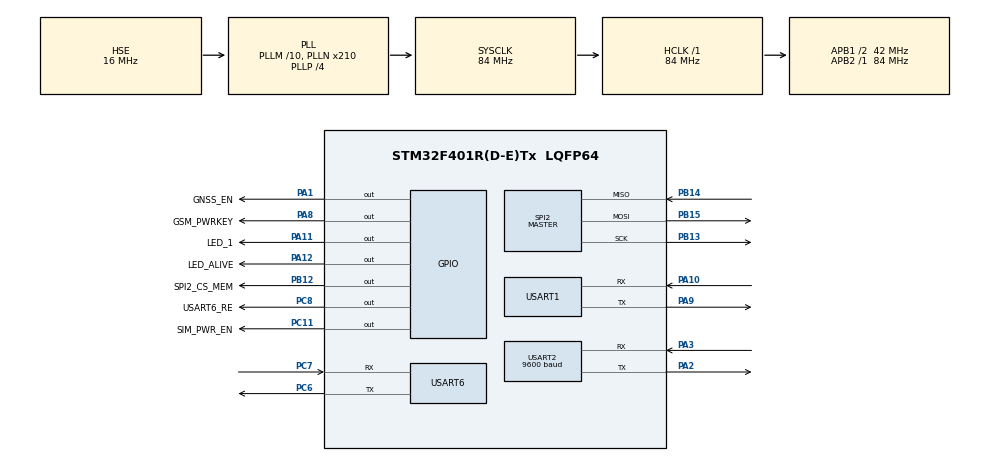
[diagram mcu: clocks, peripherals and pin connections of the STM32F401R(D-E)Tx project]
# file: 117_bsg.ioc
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Dma.Request0=USART2_RX
Dma.Request1=USART1_RX
Dma.Request2=USART1_TX
Dma.Request3=SPI2_RX
Dma.Request4=SPI2_TX
Dma.Request5=USART6_RX
Dma.Request6=USART6_TX
Dma.SPI2_RX.3.Direction=DMA_PERIPH_TO_MEMORY
Dma.SPI2_RX.3.FIFOMode=DMA_FIFOMODE_DISABLE
Dma.SPI2_RX.3.Instance=DMA1_Stream3
Dma.SPI2_RX.3.MemDataAlignment=DMA_MDATAALIGN_BYTE
Dma.SPI2_RX.3.MemInc=DMA_MINC_ENABLE
Dma.SPI2_RX.3.Mode=DMA_NORMAL
Dma.SPI2_RX.3.PeriphDataAlignment=DMA_PDATAALIGN_BYTE
Dma.SPI2_RX.3.PeriphInc=DMA_PINC_DISABLE
Dma.SPI2_RX.3.Priority=DMA_PRIORITY_LOW
Dma.SPI2_TX.4.Direction=DMA_MEMORY_TO_PERIPH
Dma.SPI2_TX.4.FIFOMode=DMA_FIFOMODE_DISABLE
Dma.SPI2_TX.4.Instance=DMA1_Stream4
Dma.SPI2_TX.4.MemDataAlignment=DMA_MDATAALIGN_BYTE
Dma.SPI2_TX.4.MemInc=DMA_MINC_ENABLE
Dma.SPI2_TX.4.Mode=DMA_NORMAL
Dma.SPI2_TX.4.PeriphDataAlignment=DMA_PDATAALIGN_BYTE
Dma.SPI2_TX.4.PeriphInc=DMA_PINC_DISABLE
Dma.SPI2_TX.4.Priority=DMA_PRIORITY_LOW
Dma.USART1_RX.1.Direction=DMA_PERIPH_TO_MEMORY
Dma.USART1_RX.1.FIFOMode=DMA_FIFOMODE_DISABLE
Dma.USART1_RX.1.Instance=DMA2_Stream2
Dma.USART1_RX.1.MemDataAlignment=DMA_MDATAALIGN_BYTE
Dma.USART1_RX.1.MemInc=DMA_MINC_ENABLE
Dma.USART1_RX.1.Mode=DMA_CIRCULAR
Dma.USART1_RX.1.PeriphDataAlignment=DMA_PDATAALIGN_BYTE
Dma.USART1_RX.1.PeriphInc=DMA_PINC_DISABLE
Dma.USART1_RX.1.Priority=DMA_PRIORITY_LOW
Dma.USART1_TX.2.Direction=DMA_MEMORY_TO_PERIPH
Dma.USART1_TX.2.FIFOMode=DMA_FIFOMODE_DISABLE
Dma.USART1_TX.2.Instance=DMA2_Stream7
Dma.USART1_TX.2.MemDataAlignment=DMA_MDATAALIGN_BYTE
Dma.USART1_TX.2.MemInc=DMA_MINC_ENABLE
Dma.USART1_TX.2.Mode=DMA_NORMAL
Dma.USART1_TX.2.PeriphDataAlignment=DMA_PDATAALIGN_BYTE
Dma.USART1_TX.2.PeriphInc=DMA_PINC_DISABLE
Dma.USART1_TX.2.Priority=DMA_PRIORITY_LOW
Dma.USART2_RX.0.Direction=DMA_PERIPH_TO_MEMORY
Dma.USART2_RX.0.FIFOMode=DMA_FIFOMODE_DISABLE
Dma.USART2_RX.0.Instance=DMA1_Stream5
Dma.USART2_RX.0.MemDataAlignment=DMA_MDATAALIGN_BYTE
Dma.USART2_RX.0.MemInc=DMA_MINC_ENABLE
Dma.USART2_RX.0.Mode=DMA_CIRCULAR
Dma.USART2_RX.0.PeriphDataAlignment=DMA_PDATAALIGN_BYTE
Dma.USART2_RX.0.PeriphInc=DMA_PINC_DISABLE
Dma.USART2_RX.0.Priority=DMA_PRIORITY_LOW
Dma.USART6_RX.5.Direction=DMA_PERIPH_TO_MEMORY
Dma.USART6_RX.5.FIFOMode=DMA_FIFOMODE_DISABLE
Dma.USART6_RX.5.Instance=DMA2_Stream1
Dma.USART6_RX.5.MemDataAlignment=DMA_MDATAALIGN_BYTE
Dma.USART6_RX.5.MemInc=DMA_MINC_ENABLE
Dma.USART6_RX.5.Mode=DMA_CIRCULAR
Dma.USART6_RX.5.PeriphDataAlignment=DMA_PDATAALIGN_BYTE
Dma.USART6_RX.5.PeriphInc=DMA_PINC_DISABLE
Dma.USART6_RX.5.Priority=DMA_PRIORITY_LOW
Dma.USART6_TX.6.Direction=DMA_MEMORY_TO_PERIPH
Dma.USART6_TX.6.FIFOMode=DMA_FIFOMODE_DISABLE
Dma.USART6_TX.6.Instance=DMA2_Stream6
Dma.USART6_TX.6.MemDataAlignment=DMA_MDATAALIGN_BYTE
Dma.USART6_TX.6.MemInc=DMA_MINC_ENABLE
Dma.USART6_TX.6.Mode=DMA_NORMAL
Dma.USART6_TX.6.PeriphDataAlignment=DMA_PDATAALIGN_BYTE
Dma.USART6_TX.6.PeriphInc=DMA_PINC_DISABLE
Dma.USART6_TX.6.Priority=DMA_PRIORITY_LOW
FREERTOS.BinarySemaphores01=semCreateWebPckg,Dynamic,NULL;uart6RXSem,Dynamic,NULL;semSendWebPckg,Dynamic,NULL;semSendTelPckg,Dynamic,NULL
FREERTOS.Mutexes01=mutexGPSBuf,Dynamic,NULL;mutexWeb,Dynamic,NULL;mutexRTC,Dynamic,NULL;mutexSpiFlash,Dynamic,NULL;mutexSession,Dynamic,NULL
FREERTOS.Queues01=queueWebPckg,8,WebPckg*,0,Dynamic,NULL,NULL;queueTelPckg,8,WebPckg*,0,Dynamic,NULL,NULL
FREERTOS.Tasks01=getGPS,0,300,taskGetGPS,As weak,NULL,Dynamic,NULL,NULL;keepAlive,0,300,taskKeepAlive,As weak,NULL,Dynamic,NULL,NULL;getNewBin,0,300,taskGetNewBin,As weak,NULL,Dynamic,NULL,NULL;manageIWDG,0,128,taskManageIWDG,As weak,NULL,Dynamic,NULL,NULL;createWebPckg,0,300,taskCreateWebPckg,As weak,NULL,Dynamic,NULL,NULL;webExchange,0,300,taskWebExchange,As weak,NULL,Dynamic,NULL,NULL;getTrainData,0,256,taskGetTrainData,As weak,NULL,Dynamic,NULL,NULL;sendTelemetry,0,256,taskSendTelemetry,As weak,NULL,Dynamic,NULL,NULL
FREERTOS.configTOTAL_HEAP_SIZE=16000
IWDG.Prescaler=IWDG_PRESCALER_256
Mcu.Family=STM32F4
Mcu.Name=STM32F401R(D-E)Tx
Mcu.Package=LQFP64
NVIC.DMA1_Stream3_IRQn=true\:5\:0\:false\:false\:true\:true\:false\:true
NVIC.DMA1_Stream4_IRQn=true\:5\:0\:false\:false\:true\:true\:false\:true
NVIC.DMA1_Stream5_IRQn=true\:5\:0\:false\:false\:true\:true\:false\:true
NVIC.DMA2_Stream1_IRQn=true\:5\:0\:false\:false\:true\:true\:false\:true
NVIC.DMA2_Stream2_IRQn=true\:5\:0\:false\:false\:true\:true\:false\:true
NVIC.DMA2_Stream6_IRQn=true\:5\:0\:false\:false\:true\:true\:false\:true
NVIC.DMA2_Stream7_IRQn=true\:5\:0\:false\:false\:true\:true\:false\:true
NVIC.PriorityGroup=NVIC_PRIORITYGROUP_4
NVIC.SPI2_IRQn=true\:5\:0\:false\:false\:true\:true\:true\:true
NVIC.TIM1_UP_TIM10_IRQn=true\:0\:0\:false\:false\:true\:false\:false\:true
NVIC.TimeBase=TIM1_UP_TIM10_IRQn
NVIC.TimeBaseIP=TIM1
NVIC.USART1_IRQn=true\:5\:0\:false\:false\:true\:true\:true\:true
NVIC.USART2_IRQn=true\:5\:0\:false\:false\:true\:true\:true\:true
NVIC.USART6_IRQn=true\:5\:0\:false\:false\:true\:true\:true\:true
PA1.GPIO_Label=GNSS_EN
PA1.Signal=GPIO_Output
PA10.Mode=Asynchronous
PA10.Signal=USART1_RX
PA11.GPIO_Label=LED_1
PA11.Signal=GPIO_Output
PA12.GPIO_Label=LED_ALIVE
PA12.Signal=GPIO_Output
PA13.Mode=Serial_Wire
PA13.Signal=SYS_JTMS-SWDIO
PA14.Mode=Serial_Wire
PA14.Signal=SYS_JTCK-SWCLK
PA2.Mode=Asynchronous
PA2.Signal=USART2_TX
PA3.Mode=Asynchronous
PA3.Signal=USART2_RX
PA8.GPIO_Label=GSM_PWRKEY
PA8.Signal=GPIO_Output
PA9.Mode=Asynchronous
PA9.Signal=USART1_TX
PB12.GPIO_Label=SPI2_CS_MEM
PB12.Signal=GPIO_Output
PB13.Mode=Full_Duplex_Master
PB13.Signal=SPI2_SCK
PB14.Mode=Full_Duplex_Master
PB14.Signal=SPI2_MISO
PB15.Mode=Full_Duplex_Master
PB15.Signal=SPI2_MOSI
PC11.GPIO_Label=SIM_PWR_EN
PC11.Signal=GPIO_Output
PC14-OSC32_IN.Mode=LSE-External-Oscillator
PC14-OSC32_IN.Signal=RCC_OSC32_IN
PC15-OSC32_OUT.Mode=LSE-External-Oscillator
PC15-OSC32_OUT.Signal=RCC_OSC32_OUT
PC6.Mode=Asynchronous
PC6.Signal=USART6_TX
PC7.Mode=Asynchronous
PC7.Signal=USART6_RX
PC8.GPIO_Label=USART6_RE
PC8.Signal=GPIO_Output
PH0\ -\ OSC_IN.Mode=HSE-External-Oscillator
PH0\ -\ OSC_IN.Signal=RCC_OSC_IN
PH1\ -\ OSC_OUT.Mode=HSE-External-Oscillator
PH1\ -\ OSC_OUT.Signal=RCC_OSC_OUT
ProjectManager.HeapSize=0x200
ProjectManager.StackSize=0x400
ProjectManager.TargetToolchain=EWARM V8
RCC.48MHZClocksFreq_Value=84000000
RCC.AHBFreq_Value=84000000
RCC.APB1CLKDivider=RCC_HCLK_DIV2
RCC.APB1Freq_Value=42000000
RCC.APB1TimFreq_Value=84000000
RCC.APB2Freq_Value=84000000
RCC.APB2TimFreq_Value=84000000
RCC.CortexFreq_Value=84000000
RCC.HCLKFreq_Value=84000000
RCC.HSE_VALUE=16000000
RCC.HSI_VALUE=16000000
RCC.PLLM=10
RCC.PLLN=210
RCC.PLLP=RCC_PLLP_DIV4
RCC.PLLSourceVirtual=RCC_PLLSOURCE_HSE
RCC.RCC_RTC_Clock_Source=RCC_RTCCLKSOURCE_LSE
RCC.RCC_RTC_Clock_SourceVirtual=RCC_RTCCLKSOURCE_LSE
RCC.SYSCLKFreq_VALUE=84000000
RCC.SYSCLKSource=RCC_SYSCLKSOURCE_PLLCLK
RCC.VCOOutputFreq_Value=336000000
SPI2.BaudRatePrescaler=SPI_BAUDRATEPRESCALER_2
SPI2.Direction=SPI_DIRECTION_2LINES
SPI2.Mode=SPI_MODE_MASTER
SPI2.VirtualType=VM_MASTER
TIM10.Period=10000
TIM10.Prescaler=42000
USART1.VirtualMode=VM_ASYNC
USART2.BaudRate=9600
USART2.VirtualMode=VM_ASYNC
USART6.VirtualMode=VM_ASYNC
VP_CRC_VS_CRC.Mode=CRC_Activate
VP_FREERTOS_VS_CMSIS_V1.Mode=CMSIS_V1
VP_IWDG_VS_IWDG.Mode=IWDG_Activate
VP_RTC_VS_RTC_Activate.Mode=RTC_Enabled
VP_SYS_VS_tim1.Mode=TIM1
VP_TIM10_VS_ClockSourceINT.Mode=Enable_Timer
board=custom

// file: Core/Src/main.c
/* USER CODE BEGIN Header */
/**
 ******************************************************************************
 * @file           : main.c
 * @brief          : Main program body
 ******************************************************************************
 * @attention
 *
 * <h2><center>&copy; Copyright (c) 2020 STMicroelectronics.
 * All rights reserved.</center></h2>
 *
 * This software component is licensed by ST under Ultimate Liberty license
 * SLA0044, the "License"; You may not use this file except in compliance with
 * the License. You may obtain a copy of the License at:
 *                             www.st.com/SLA0044
 *
 ******************************************************************************
 */
/* USER CODE END Header */
#include "main.h"

#include "cmsis_os.h"
#include "crc.h"
#include "dma.h"
#include "gpio.h"
#include "iwdg.h"
#include "rtc.h"
#include "spi.h"
#include "tim.h"
#include "usart.h"

/* USER CODE BEGIN PV */
#include "../Utils/Inc/circularBuffer.h"
#include "../Utils/Inc/utils_bsg.h"
#include "../Utils/Inc/utils_flash.h"
#include "../Utils/Inc/utils_gps.h"

BSG  bsg;
Urls urls;

CircularBuffer circBufAllPckgs = {.buf = NULL, .max = 0};

u8 bufPckgGPS[256];
/* USER CODE END PV */

void SystemClock_Config(void);
void MX_FREERTOS_Init(void);

int main(void) {

    /* MCU Configuration--------------------------------------------------------*/

    /* Reset of all peripherals, Initializes the Flash interface and the Systick. */
    HAL_Init();

    /* Configure the system clock */
    SystemClock_Config();

    /* Initialize all configured peripherals */
    MX_GPIO_Init();
    MX_DMA_Init();
    MX_SPI2_Init();
    MX_USART1_UART_Init();
    MX_USART2_UART_Init();
    MX_IWDG_Init();
    MX_RTC_Init();
    MX_TIM10_Init();
    MX_CRC_Init();
    MX_USART6_UART_Init();
    /* USER CODE BEGIN 2 */
    // LOG(LEVEL_MAIN, "OK: start main prog\r\n");
    volatile FIRMWARE_INFO info = {.header = 0x1122334455667788,
                                   .numFirmware = BSG_ID_FIRMWARE,
                                   .verFirmware = BSG_VER_BETA_FIRMWARE,
                                   .numTrainCar = BSG_ID_TRAINCAR,
                                   .idBoot = BSG_ID_BOOT};

    info.idBoot = (u8)getFlashData(FLASH_ADDR_ID_BOOT);
    memcpy(&bsg.info, &info, sizeof(FIRMWARE_INFO));

    LOG(LEVEL_MAIN, "Firmware: %d.%d\r\n\r\n", info.numFirmware, info.idBoot);
    uartInitInfo();
    bsgInit();
    urlsInit();
    cBufInit(&circBufAllPckgs, bufPckgGPS, 256, CIRC_TYPE_GNSS);

    /* USER CODE END 2 */

    /* Call init function for freertos objects (in freertos.c) */
    MX_FREERTOS_Init();
    /* Start scheduler */
    osKernelStart();

    /* We should never get here as control is now taken by the scheduler */
    /* Infinite loop */
    while (1) {

    }
}

void SystemClock_Config(void) {
    RCC_OscInitTypeDef       RCC_OscInitStruct = {0};
    RCC_ClkInitTypeDef       RCC_ClkInitStruct = {0};
    RCC_PeriphCLKInitTypeDef PeriphClkInitStruct = {0};

    /** Configure the main internal regulator output voltage
     */
    __HAL_RCC_PWR_CLK_ENABLE();
    __HAL_PWR_VOLTAGESCALING_CONFIG(PWR_REGULATOR_VOLTAGE_SCALE2);
    /** Initializes the RCC Oscillators according to the specified parameters
     * in the RCC_OscInitTypeDef structure.
     */
    RCC_OscInitStruct.OscillatorType = RCC_OSCILLATORTYPE_LSI | RCC_OSCILLATORTYPE_HSE | RCC_OSCILLATORTYPE_LSE;
    RCC_OscInitStruct.HSEState = RCC_HSE_ON;
    RCC_OscInitStruct.LSEState = RCC_LSE_ON;
    RCC_OscInitStruct.LSIState = RCC_LSI_ON;
    RCC_OscInitStruct.PLL.PLLState = RCC_PLL_ON;
    RCC_OscInitStruct.PLL.PLLSource = RCC_PLLSOURCE_HSE;
    RCC_OscInitStruct.PLL.PLLM = 10;
    RCC_OscInitStruct.PLL.PLLN = 210;
    RCC_OscInitStruct.PLL.PLLP = RCC_PLLP_DIV4;
    RCC_OscInitStruct.PLL.PLLQ = 4;
    if (HAL_RCC_OscConfig(&RCC_OscInitStruct) != HAL_OK) {
        Error_Handler();
    }
    /** Initializes the CPU, AHB and APB buses clocks
     */
    RCC_ClkInitStruct.ClockType = RCC_CLOCKTYPE_HCLK | RCC_CLOCKTYPE_SYSCLK | RCC_CLOCKTYPE_PCLK1 | RCC_CLOCKTYPE_PCLK2;
    RCC_ClkInitStruct.SYSCLKSource = RCC_SYSCLKSOURCE_PLLCLK;
    RCC_ClkInitStruct.AHBCLKDivider = RCC_SYSCLK_DIV1;
    RCC_ClkInitStruct.APB1CLKDivider = RCC_HCLK_DIV2;
    RCC_ClkInitStruct.APB2CLKDivider = RCC_HCLK_DIV1;

    if (HAL_RCC_ClockConfig(&RCC_ClkInitStruct, FLASH_LATENCY_2) != HAL_OK) {
        Error_Handler();
    }
    PeriphClkInitStruct.PeriphClockSelection = RCC_PERIPHCLK_RTC;
    PeriphClkInitStruct.RTCClockSelection = RCC_RTCCLKSOURCE_LSE;
    if (HAL_RCCEx_PeriphCLKConfig(&PeriphClkInitStruct) != HAL_OK) {
        Error_Handler();
    }
}

/* USER CODE BEGIN 4 */
u8 waitTx(char* waitStr, IrqFlags* pFlags, u16 pause, u32 timeout) {
    u32 tout = 0;
    while (!pFlags->isIrqTx && tout < timeout) {
        osDelay(pause);
        tout += pause;
    }
    if (strlen(waitStr) > 1) LOG(LEVEL_INFO, "%s timeout: %d\r\n", waitStr, tout);
    return pFlags->isIrqTx;
}

u8 waitRx(char* waitStr, IrqFlags* pFlags, u16 pause, u32 timeout) {
    u32 tout = 0;
    while (!(pFlags->isIrqRx) && tout < timeout) {
        osDelay(pause);
        tout += pause;
    }
    if (strlen(waitStr) > 1) LOG(LEVEL_INFO, "%s timeout: %d\r\n", waitStr, tout);
    return pFlags->isIrqRx;
}

u8 waitIdle(char* waitStr, IrqFlags* pFlags, u16 pause, u32 timeout) {
    u32 tout = 0;
    while (!(pFlags->isIrqIdle) && tout < timeout) {
        osDelay(pause);
        tout += pause;
    }
    if (strlen(waitStr) > 1) LOG(LEVEL_INFO, "%s timeout: %d\r\n", waitStr, tout);
    return pFlags->isIrqIdle;
}

u8 waitIdleCnt(char* waitStr, IrqFlags* pFlags, u8 cnt, u16 pause,
               u32 timeout) {
    u32 tout = 0;
    while ((pFlags->isIrqIdle) < cnt && tout < timeout) {
        osDelay(pause);
        tout += pause;
    }
    if (strlen(waitStr) > 1) LOG(LEVEL_INFO, "%s timeout: %d\r\n", waitStr, tout);
    return pFlags->isIrqIdle;
}

void urlsInit() {
    urls.ourTcpAddr = URL_TCP_ADDR;
    urls.ourTcpPort = URL_TCP_PORT;
    urls.niacTcpAddr = URL_NIAC_TCP_ADDR;
    urls.niacTcpPort = URL_NIAC_TCP_PORT;
}
/* USER CODE END 4 */

void HAL_TIM_PeriodElapsedCallback(TIM_HandleTypeDef* htim) {
    if (htim->Instance == TIM1) {
        HAL_IncTick();
    }
}

void Error_Handler(void) {
    /* USER CODE BEGIN Error_Handler_Debug */
    /* User can add his own implementation to report the HAL error return state
     */

    /* USER CODE END Error_Handler_Debug */
}

#ifdef USE_FULL_ASSERT
/**
 * @brief  Reports the name of the source file and the source line number
 *         where the assert_param error has occurred.
 * @param  file: pointer to the source file name
 * @param  line: assert_param error line source number
 * @retval None
 */
void assert_failed(uint8_t* file, uint32_t line) {
    /* USER CODE BEGIN 6 */
    /* User can add his own implementation to report the file name and line
       number, tex: printf("Wrong parameters value: file %s on line %d\r\n",
       file, line) */
    /* USER CODE END 6 */
}
#endif /* USE_FULL_ASSERT */

/************************ (C) COPYRIGHT STMicroelectronics *****END OF FILE****/

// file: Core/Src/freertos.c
/* USER CODE BEGIN Header */
/**
 ******************************************************************************
 * File Name          : freertos.c
 * Description        : Code for freertos applications
 ******************************************************************************
 * @attention
 *
 * <h2><center>&copy; Copyright (c) 2020 STMicroelectronics.
 * All rights reserved.</center></h2>
 *
 * This software component is licensed by ST under Ultimate Liberty license
 * SLA0044, the "License"; You may not use this file except in compliance with
 * the License. You may obtain a copy of the License at:
 *                             www.st.com/SLA0044
 *
 ******************************************************************************
 */
/* USER CODE END Header */

#include "FreeRTOS.h"

#include "cmsis_os.h"
#include "main.h"
#include "task.h"

/* USER CODE BEGIN Variables */
#include "../Utils/Inc/utils_pckgs_manager.h"
#include "usart.h"

/* USER CODE END Variables */
osThreadId    getGPSHandle;
osThreadId    keepAliveHandle;
osThreadId    getNewBinHandle;
osThreadId    manageIWDGHandle;
osThreadId    createWebPckgHandle;
osThreadId    webExchangeHandle;
osThreadId    getTrainDataHandle;
osThreadId    sendTelemetryHandle;
osMessageQId  queueWebPckgHandle;
osMessageQId  queueTelPckgHandle;
osMutexId     mutexGPSBufHandle;
osMutexId     mutexWebHandle;
osMutexId     mutexRTCHandle;
osMutexId     mutexSpiFlashHandle;
osMutexId     mutexSessionHandle;
osSemaphoreId semCreateWebPckgHandle;
osSemaphoreId uart6RXSemHandle;
osSemaphoreId semSendWebPckgHandle;
osSemaphoreId semSendTelPckgHandle;

void taskGetGPS(void const *argument);
void taskKeepAlive(void const *argument);
void taskGetNewBin(void const *argument);
void taskManageIWDG(void const *argument);
void taskCreateWebPckg(void const *argument);
void taskWebExchange(void const *argument);
void taskGetTrainData(void const *argument);
void taskSendTelemetry(void const *argument);

void MX_FREERTOS_Init(void); /* (MISRA C 2004 rule 8.1) */

/* GetIdleTaskMemory prototype (linked to static allocation support) */
void vApplicationGetIdleTaskMemory(StaticTask_t **ppxIdleTaskTCBBuffer, StackType_t **ppxIdleTaskStackBuffer, uint32_t *pulIdleTaskStackSize);

/* USER CODE BEGIN GET_IDLE_TASK_MEMORY */
static StaticTask_t xIdleTaskTCBBuffer;
static StackType_t  xIdleStack[configMINIMAL_STACK_SIZE];

void vApplicationGetIdleTaskMemory(StaticTask_t **ppxIdleTaskTCBBuffer, StackType_t **ppxIdleTaskStackBuffer, uint32_t *pulIdleTaskStackSize) {
    *ppxIdleTaskTCBBuffer = &xIdleTaskTCBBuffer;
    *ppxIdleTaskStackBuffer = &xIdleStack[0];
    *pulIdleTaskStackSize = configMINIMAL_STACK_SIZE;
    /* place for user code */
}
/* USER CODE END GET_IDLE_TASK_MEMORY */

void MX_FREERTOS_Init(void) {
    /* Create the mutex(es) */
    /* definition and creation of mutexGPSBuf */
    osMutexDef(mutexGPSBuf);
    mutexGPSBufHandle = osMutexCreate(osMutex(mutexGPSBuf));

    /* definition and creation of mutexWeb */
    osMutexDef(mutexWeb);
    mutexWebHandle = osMutexCreate(osMutex(mutexWeb));

    /* definition and creation of mutexRTC */
    osMutexDef(mutexRTC);
    mutexRTCHandle = osMutexCreate(osMutex(mutexRTC));

    /* definition and creation of mutexSpiFlash */
    osMutexDef(mutexSpiFlash);
    mutexSpiFlashHandle = osMutexCreate(osMutex(mutexSpiFlash));

    /* definition and creation of mutexSession */
    osMutexDef(mutexSession);
    mutexSessionHandle = osMutexCreate(osMutex(mutexSession));

    /* Create the semaphores(s) */
    /* definition and creation of semCreateWebPckg */
    osSemaphoreDef(semCreateWebPckg);
    semCreateWebPckgHandle = osSemaphoreCreate(osSemaphore(semCreateWebPckg), 1);

    /* definition and creation of uart6RXSem */
    osSemaphoreDef(uart6RXSem);
    uart6RXSemHandle = osSemaphoreCreate(osSemaphore(uart6RXSem), 1);

    /* definition and creation of semSendWebPckg */
    osSemaphoreDef(semSendWebPckg);
    semSendWebPckgHandle = osSemaphoreCreate(osSemaphore(semSendWebPckg), 1);

    /* definition and creation of semSendTelPckg */
    osSemaphoreDef(semSendTelPckg);
    semSendTelPckgHandle = osSemaphoreCreate(osSemaphore(semSendTelPckg), 1);

    /* Create the queue(s) */
    /* definition and creation of queueWebPckg */
    osMessageQDef(queueWebPckg, 8, WebPckg *);
    queueWebPckgHandle = osMessageCreate(osMessageQ(queueWebPckg), NULL);

    /* definition and creation of queueTelPckg */
    osMessageQDef(queueTelPckg, 8, WebPckg *);
    queueTelPckgHandle = osMessageCreate(osMessageQ(queueTelPckg), NULL);

    /* Create the thread(s) */
    /* definition and creation of getGPS */
    osThreadDef(getGPS, taskGetGPS, osPriorityNormal, 0, 300);
    getGPSHandle = osThreadCreate(osThread(getGPS), NULL);

    /* definition and creation of keepAlive */
    osThreadDef(keepAlive, taskKeepAlive, osPriorityNormal, 0, 300);
    keepAliveHandle = osThreadCreate(osThread(keepAlive), NULL);

    /* definition and creation of getNewBin */
    osThreadDef(getNewBin, taskGetNewBin, osPriorityNormal, 0, 300);
    getNewBinHandle = osThreadCreate(osThread(getNewBin), NULL);

    /* definition and creation of manageIWDG */
    osThreadDef(manageIWDG, taskManageIWDG, osPriorityNormal, 0, 128);
    manageIWDGHandle = osThreadCreate(osThread(manageIWDG), NULL);

    /* definition and creation of createWebPckg */
    osThreadDef(createWebPckg, taskCreateWebPckg, osPriorityNormal, 0, 300);
    createWebPckgHandle = osThreadCreate(osThread(createWebPckg), NULL);

    /* definition and creation of webExchange */
    osThreadDef(webExchange, taskWebExchange, osPriorityNormal, 0, 300);
    webExchangeHandle = osThreadCreate(osThread(webExchange), NULL);

    /* definition and creation of getTrainData */
    osThreadDef(getTrainData, taskGetTrainData, osPriorityNormal, 0, 256);
    getTrainDataHandle = osThreadCreate(osThread(getTrainData), NULL);

    /* definition and creation of sendTelemetry */
    osThreadDef(sendTelemetry, taskSendTelemetry, osPriorityNormal, 0, 256);
    sendTelemetryHandle = osThreadCreate(osThread(sendTelemetry), NULL);

}

__weak void taskGetGPS(void const *argument) {
    for (;;) {
        osDelay(1);
    }
}

__weak void taskKeepAlive(void const *argument) {
    for (;;) {
        osDelay(1);
    }
}

__weak void taskGetNewBin(void const *argument) {
    for (;;) {
        osDelay(1);
    }
}

__weak void taskManageIWDG(void const *argument) {
    for (;;) {
        osDelay(1);
    }
}

__weak void taskCreateWebPckg(void const *argument) {
    for (;;) {
        osDelay(1);
    }
}

__weak void taskWebExchange(void const *argument) {
    for (;;) {
        osDelay(1);
    }
}

__weak void taskGetTrainData(void const *argument) {
    for (;;) {
        osDelay(1);
    }
}

__weak void taskSendTelemetry(void const *argument) {
    for (;;) {
        osDelay(1);
    }
}

/************************ (C) COPYRIGHT STMicroelectronics *****END OF FILE****/
